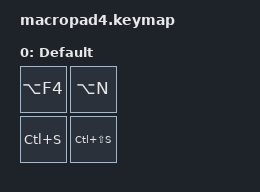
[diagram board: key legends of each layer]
#include <behaviors.dtsi>
#include <dt-bindings/zmk/keys.h>
/ {
    keymap {
        compatible = "zmk,keymap";
        default_layer {
            display-name = "Default";
            bindings = <
                &kp LA(F4)   &kp LA(N)
                &kp LC(S)    &kp LC(LS(S))
            >;
        };
    };
};
